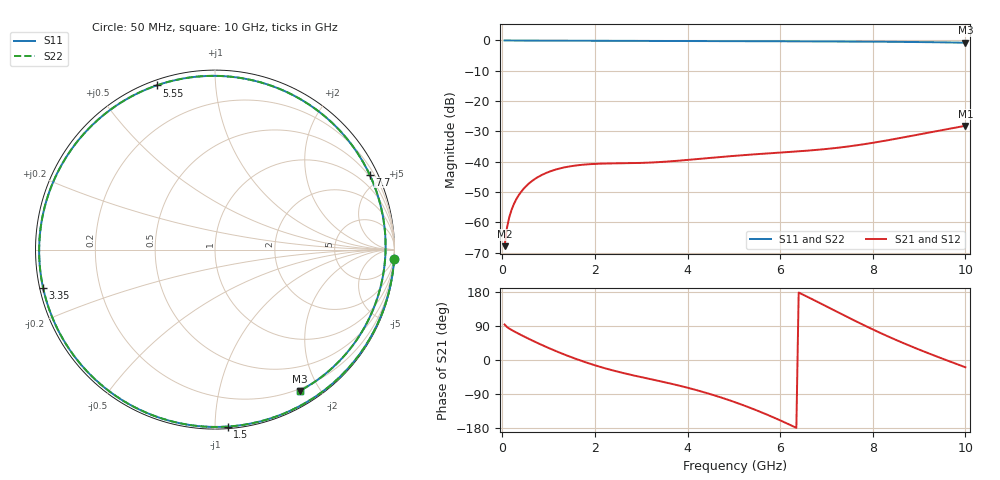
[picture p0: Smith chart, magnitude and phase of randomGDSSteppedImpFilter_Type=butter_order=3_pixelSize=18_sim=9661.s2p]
! freq	dB(S11)	phase(S11)	dB(S12)	phase(S12)
!  dB(S21)	phase(S21)	dB(S22)	phase(S22)
!S-par simulation data
#  GHz  S  DB  R 50
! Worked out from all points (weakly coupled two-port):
!   200 points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, 50 MHz to 10 GHz, reference 50 ohm
!   highest |S21| = -28.18 dB at 10 GHz (marker M1); lowest = -67.9 dB at 50 MHz (marker M2)
!   lowest |S11| = -0.7 dB at 10 GHz (marker M3), VSWR 23.26, Z = 8.78 - j87.5 ohm
!   |S11| at or under -10 dB: nowhere
!   |S22| runs from -0.7 to 0.0 dB; largest |S21 - S12| = 0
!   S11 on the Smith chart (normalised r, x): 50 MHz: 0, -38; 1.5 GHz: 0.01, -1.08; 3.35 GHz: 0.01, -0.11; 5.55 GHz: 0.02, +0.71; 7.7 GHz: 0.43, +4.31; 10 GHz: 0.18, -1.75
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0.05  -0.00 -3.0  -67.86 93.7  -67.86 93.7  -0.00 -3.0
0.1  -0.01 -6.0  -61.85 87.2  -61.85 87.2  -0.01 -6.0
0.2  -0.02 -12.1  -55.88 79.3  -55.88 79.3  -0.02 -12.1
0.45  -0.04 -27.2  -49.11 63.2  -49.11 63.2  -0.04 -27.2
0.7  -0.05 -42.0  -45.73 48.4  -45.73 48.4  -0.05 -42.0
1  -0.07 -59.1  -43.38 31.7  -43.38 31.7  -0.07 -59.1
1.5  -0.10 -85.8  -41.43 7.0  -41.43 7.0  -0.10 -85.9
1.75  -0.11 -98.4  -40.97 -3.9  -40.97 -3.9  -0.11 -98.4
2.1  -0.12 -114.9  -40.66 -17.6  -40.66 -17.6  -0.12 -114.9
2.55  -0.14 -134.9  -40.53 -32.6  -40.53 -32.6  -0.14 -134.9
3.35  -0.17 -167.5  -40.16 -54.4  -40.16 -54.4  -0.16 -167.5
3.4  -0.17 -169.4  -40.11 -55.8  -40.11 -55.8  -0.17 -169.4
4.2  -0.20 160.2  -39.14 -79.7  -39.14 -79.7  -0.20 160.2
5.05  -0.23 128.5  -38.02 -112.5  -38.02 -112.5  -0.23 128.4
5.55  -0.26 109.6  -37.45 -135.7  -37.45 -135.7  -0.26 109.6
6.15  -0.29 86.6  -36.83 -167.6  -36.83 -167.6  -0.29 86.6
6.7  -0.31 65.1  -36.21 160.0  -36.21 160.0  -0.31 65.1
7.25  -0.35 43.5  -35.39 125.9  -35.39 125.9  -0.35 43.5
7.7  -0.38 25.9  -34.48 98.4  -34.48 98.4  -0.38 25.9
8.35  -0.44 0.8  -32.85 61.1  -32.85 61.1  -0.44 0.8
9.1  -0.55 -27.2  -30.71 22.6  -30.71 22.6  -0.55 -27.2
10  -0.75 -59.1  -28.18 -19.2  -28.18 -19.2  -0.75 -59.1
